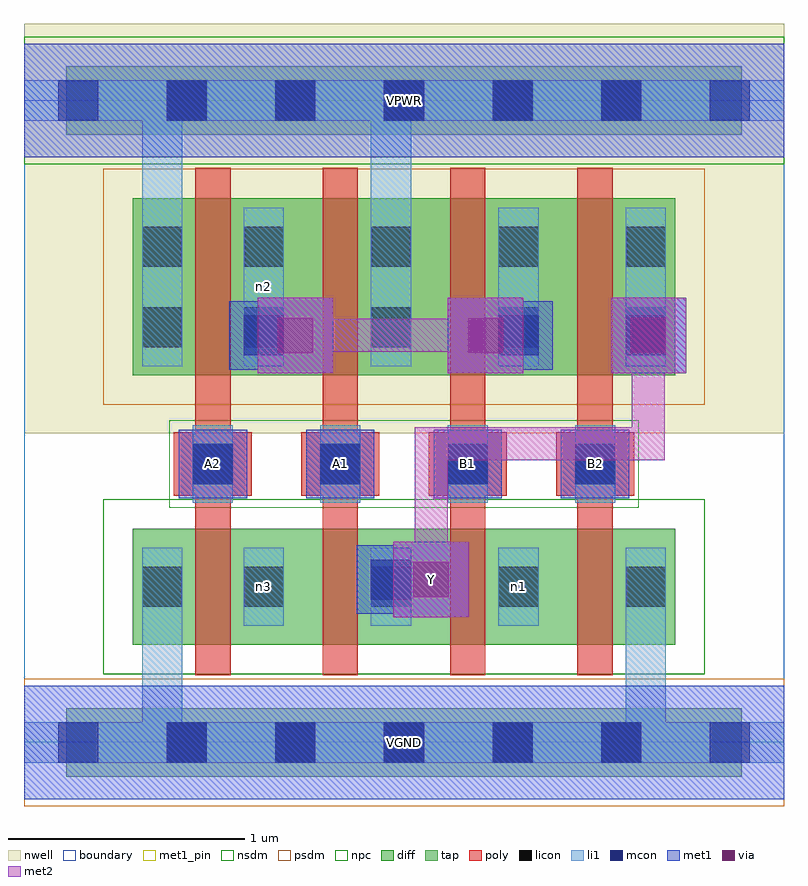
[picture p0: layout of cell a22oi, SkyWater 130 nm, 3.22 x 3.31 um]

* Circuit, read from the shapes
.subckt a22oi A1 A2 B1 B2 VGND VPWR Y n1 n2 n3
XM1 n3 A2 VGND VGND sky130_fd_pr__nfet_01v8 w=0.49 l=0.15
XM2 Y A1 n3 VGND sky130_fd_pr__nfet_01v8 w=0.49 l=0.15
XM3 n1 B1 Y VGND sky130_fd_pr__nfet_01v8 w=0.49 l=0.15
XM4 VGND B2 n1 VGND sky130_fd_pr__nfet_01v8 w=0.49 l=0.15
XM5 n2 A2 VPWR VPWR sky130_fd_pr__pfet_01v8 w=0.75 l=0.15
XM6 VPWR A1 n2 VPWR sky130_fd_pr__pfet_01v8 w=0.75 l=0.15
XM7 n2 B1 VPWR VPWR sky130_fd_pr__pfet_01v8 w=0.75 l=0.15
XM8 Y B2 n2 VPWR sky130_fd_pr__pfet_01v8 w=0.75 l=0.15
.ends

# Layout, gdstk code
import gdstk
lib = gdstk.Library(unit=1e-6, precision=1e-09)
def R(c, l, rs):  # rectangles x0, y0, x1, y1
    for r in rs: c.add(gdstk.rectangle(r[:2], r[2:], *l))
def A(c, l, x, y, w, h, nx, ny, dx, dy):  # array of equal rectangles
    R(c, l, [(x+i*dx, y+j*dy, x+i*dx+w, y+j*dy+h) for i in range(nx) for j in range(ny)])
nwell = (64, 20)
diff = (65, 20)
tap = (65, 44)
poly = (66, 20)
licon = (66, 44)
li1 = (67, 20)
mcon = (67, 44)
met1_pin = (68, 16)
met1 = (68, 20)
via = (68, 44)
met2 = (69, 20)
nsdm = (93, 44)
psdm = (94, 20)
npc = (95, 20)
boundary = (235, 4)

a22oi = lib.new_cell('a22oi')
R(a22oi, nwell, [(0,1.31,3.22,3.045)])
R(a22oi, diff, [(0.46,0.415,2.76,0.905), (0.46,1.555,2.76,2.305)])
R(a22oi, tap, [(0.18,-0.145,3.04,0.145), (0.18,2.575,3.04,2.865)])
A(a22oi, poly, 0.725, 0.285, 0.15, 2.15, 4, 1, 0.54, 0)
A(a22oi, poly, 0.635, 1.045, 0.33, 0.27, 4, 1, 0.54, 0)
A(a22oi, licon, 0.605, -0.085, 0.17, 0.17, 5, 2, 0.46, 2.72)
A(a22oi, licon, 0.93, 0.575, 0.17, 0.17, 4, 2, 0.54, 1.1)
A(a22oi, licon, 0.715, 1.095, 0.17, 0.17, 4, 1, 0.54, 0)
A(a22oi, licon, 0.93, 2.015, 0.17, 0.17, 4, 1, 0.54, 0)
R(a22oi, licon, [(0.5,0.575,0.67,0.745), (0.5,1.675,0.67,1.845), (0.5,2.015,0.67,2.185)])
A(a22oi, li1, 0.93, 0.495, 0.17, 0.33, 4, 1, 0.54, 0)
A(a22oi, li1, 0.715, 1.015, 0.17, 0.33, 4, 1, 0.54, 0)
A(a22oi, li1, 0.93, 1.595, 0.17, 0.67, 4, 1, 0.54, 0)
R(a22oi, li1, [(0,-0.085,3.22,0.085), (0.5,-0.085,0.67,0.825), (2.55,-0.085,2.72,0.825), (0.5,0.495,0.67,0.825), (0.5,1.595,0.67,2.265), (0.5,1.595,0.67,2.805), (1.47,1.595,1.64,2.805), (0,2.635,3.22,2.805)])
A(a22oi, mcon, 0.145, -0.085, 0.17, 0.17, 7, 2, 0.46, 2.72)
A(a22oi, mcon, 0.715, 1.095, 0.17, 0.17, 4, 1, 0.54, 0)
R(a22oi, mcon, [(1.47,0.605,1.64,0.775), (0.93,1.64,1.1,1.81), (2.01,1.64,2.18,1.81), (2.55,1.64,2.72,1.81)])
A(a22oi, met1_pin, 0.655, 1.035, 0.29, 0.29, 4, 1, 0.54, 0)
R(a22oi, met1_pin, [(0,-0.24,3.22,0.24), (1.565,0.53,1.885,0.85), (0,2.48,3.22,2.96)])
A(a22oi, met1, 0.655, 1.035, 0.29, 0.29, 4, 1, 0.54, 0)
R(a22oi, met1, [(0,-0.24,3.22,0.24), (1.565,0.53,1.885,0.85), (1.41,0.545,1.7,0.835), (1.485,0.62,1.795,0.76), (0.99,1.565,1.31,1.885), (1.795,1.565,2.115,1.885), (2.485,1.565,2.805,1.885), (0.87,1.58,1.16,1.87), (1.95,1.58,2.24,1.87), (2.49,1.58,2.78,1.87), (0.945,1.655,1.22,1.795), (1.885,1.655,2.165,1.795), (2.565,1.655,2.715,1.795), (0,2.48,3.22,2.96)])
R(a22oi, via, [(1.65,0.615,1.8,0.765), (1.075,1.65,1.225,1.8), (1.88,1.65,2.03,1.8), (2.57,1.65,2.72,1.8)])
R(a22oi, met2, [(1.565,0.53,1.885,0.85), (1.655,0.62,1.795,1.335), (1.655,1.195,2.715,1.335), (2.575,1.195,2.715,1.795), (0.99,1.565,1.31,1.885), (1.795,1.565,2.115,1.885), (2.485,1.565,2.805,1.885), (1.08,1.655,2.025,1.795)])
R(a22oi, nsdm, [(0.335,0.29,2.885,1.03), (0,2.45,3.22,2.99)])
R(a22oi, psdm, [(0,-0.27,3.22,0.27), (0.335,1.43,2.885,2.43)])
R(a22oi, npc, [(0.615,0.995,2.605,1.365)])
R(a22oi, boundary, [(0,0,3.22,2.72)])
a22oi.add(gdstk.Label('n3', (1.015,0.66), layer=67, texttype=5))
a22oi.add(gdstk.Label('n1', (2.095,0.66), layer=67, texttype=5))
a22oi.add(gdstk.Label('n2', (1.015,1.93), layer=67, texttype=5))
a22oi.add(gdstk.Label('A1', (1.34,1.18), layer=68, texttype=5))
a22oi.add(gdstk.Label('A2', (0.8,1.18), layer=68, texttype=5))
a22oi.add(gdstk.Label('B1', (1.88,1.18), layer=68, texttype=5))
a22oi.add(gdstk.Label('B2', (2.42,1.18), layer=68, texttype=5))
a22oi.add(gdstk.Label('Y', (1.725,0.69), layer=68, texttype=5))
a22oi.add(gdstk.Label('VPWR', (1.61,2.72), layer=68, texttype=5))
a22oi.add(gdstk.Label('VGND', (1.61,0), layer=68, texttype=5))
a22oi.add(gdstk.Label('A1', (1.34,1.18), layer=68, texttype=16))
a22oi.add(gdstk.Label('A2', (0.8,1.18), layer=68, texttype=16))
a22oi.add(gdstk.Label('B1', (1.88,1.18), layer=68, texttype=16))
a22oi.add(gdstk.Label('B2', (2.42,1.18), layer=68, texttype=16))
a22oi.add(gdstk.Label('Y', (1.725,0.69), layer=68, texttype=16))
a22oi.add(gdstk.Label('VPWR', (1.61,2.72), layer=68, texttype=16))
a22oi.add(gdstk.Label('VGND', (1.61,0), layer=68, texttype=16))

lib.write_gds('a22oi.gds')
